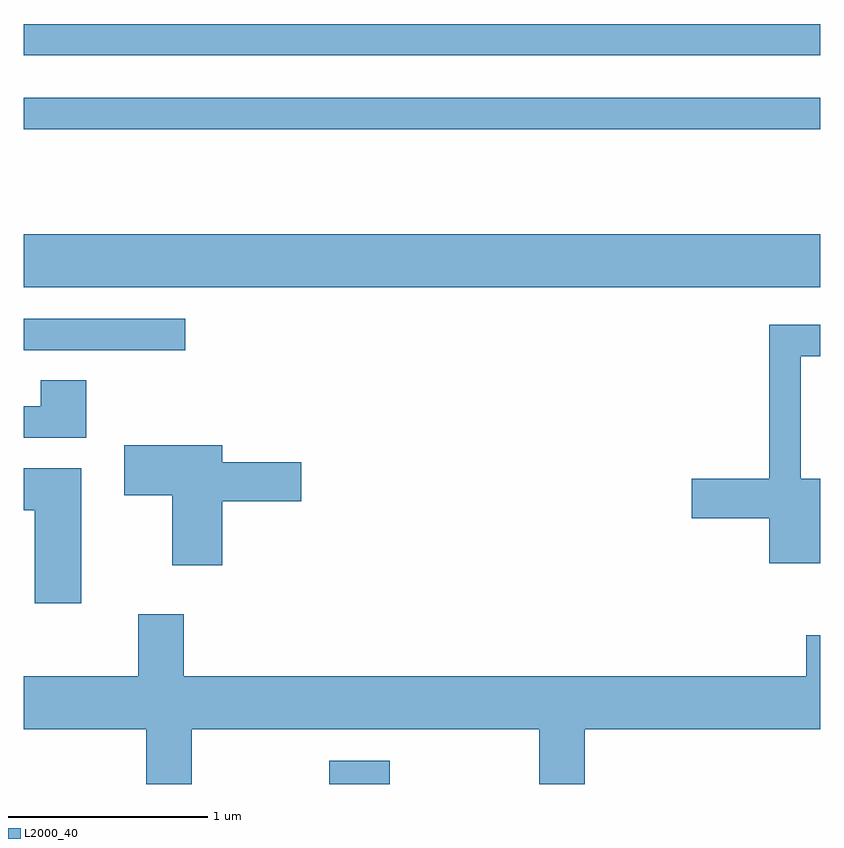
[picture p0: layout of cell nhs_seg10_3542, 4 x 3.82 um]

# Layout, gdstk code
import gdstk
lib = gdstk.Library(unit=1e-6, precision=1e-09)
def R(c, l, rs):  # rectangles x0, y0, x1, y1
    for r in rs: c.add(gdstk.rectangle(r[:2], r[2:], *l))
def P(c, l, *ps):  # polygons
    for p in ps: c.add(gdstk.Polygon(p, *l))
L2000_40 = (2000, 40)

nhs_seg10_3542 = lib.new_cell('nhs_seg10_3542')
R(nhs_seg10_3542, L2000_40, [(291.146,2122.522,291.449,2122.639), (289.611,2124.701,290.423,2124.859), (289.611,2125.016,293.611,2125.284), (289.611,2125.811,293.611,2125.969), (289.611,2126.181,293.611,2126.339)])
P(nhs_seg10_3542, L2000_40, [(293.611,2124.054),(293.514,2124.054),(293.514,2124.671),(293.611,2124.671),(293.611,2124.829),(293.356,2124.829),(293.356,2124.054),(292.966,2124.054),(292.966,2123.856),(293.356,2123.856),(293.356,2123.631),(293.611,2123.631)],
  [(289.924,2124.549),(289.696,2124.549),(289.696,2124.419),(289.611,2124.419),(289.611,2124.261),(289.924,2124.261)],
  [(290.609,2123.941),(291.004,2123.941),(291.004,2124.139),(290.609,2124.139),(290.609,2124.224),(290.116,2124.224),(290.116,2123.971),(290.356,2123.971),(290.356,2123.621),(290.609,2123.621)],
  [(289.899,2124.109),(289.611,2124.109),(289.611,2123.896),(289.666,2123.896),(289.666,2123.431),(289.899,2123.431)],
  [(290.226,2122.522),(290.454,2122.522),(290.454,2122.796),(292.201,2122.796),(292.201,2122.522),(292.429,2122.522),(292.429,2122.796),(293.611,2122.796),(293.611,2123.269),(293.541,2123.269),(293.541,2123.064),(290.414,2123.064),(290.414,2123.374),(290.186,2123.374),(290.186,2123.064),(289.611,2123.064),(289.611,2122.796),(290.226,2122.796)])

lib.write_gds('nhs_seg10_3542.gds')
